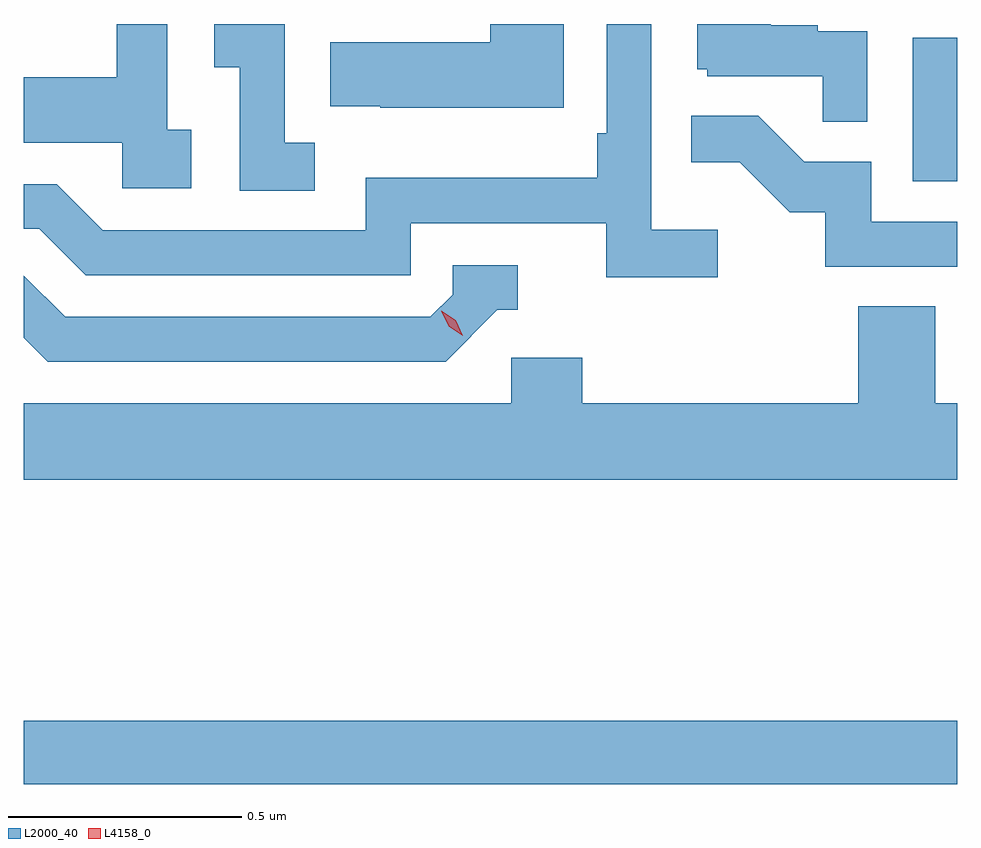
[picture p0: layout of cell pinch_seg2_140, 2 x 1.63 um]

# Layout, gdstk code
import gdstk
lib = gdstk.Library(unit=1e-6, precision=1e-09)
def R(c, l, rs):  # rectangles x0, y0, x1, y1
    for r in rs: c.add(gdstk.rectangle(r[:2], r[2:], *l))
def P(c, l, *ps):  # polygons
    for p in ps: c.add(gdstk.Polygon(p, *l))
L2000_40 = (2000, 40)
L4158_0 = (4158, 0)

pinch_seg2_140 = lib.new_cell('pinch_seg2_140')
R(pinch_seg2_140, L2000_40, [(1018.157,628.336,1020.157,628.472), (1020.062,629.628,1020.157,629.935)])
P(pinch_seg2_140, L2000_40, [(1019.644,629.524),(1019.502,629.524),(1019.502,629.965),(1019.406,629.965),(1019.406,629.731),(1019.386,629.731),(1019.386,629.635),(1018.89,629.635),(1018.89,629.523),(1018.326,629.523),(1018.227,629.622),(1018.157,629.622),(1018.157,629.526),(1018.19,629.526),(1018.289,629.427),(1018.986,629.427),(1018.986,629.538),(1019.405,629.538),(1019.405,629.422),(1019.644,629.422)],
  [(1019.314,629.965),(1019.156,629.965),(1019.156,629.926),(1018.813,629.926),(1018.813,629.789),(1018.921,629.789),(1018.921,629.786),(1019.314,629.786)],
  [(1019.964,629.949),(1019.858,629.949),(1019.858,629.962),(1019.758,629.962),(1019.758,629.965),(1019.6,629.965),(1019.6,629.868),(1019.622,629.868),(1019.622,629.853),(1019.869,629.853),(1019.869,629.755),(1019.964,629.755)],
  [(1018.78,629.711),(1018.716,629.711),(1018.716,629.965),(1018.565,629.965),(1018.565,629.872),(1018.62,629.872),(1018.62,629.608),(1018.78,629.608)],
  [(1018.516,629.738),(1018.464,629.738),(1018.464,629.965),(1018.356,629.965),(1018.356,629.851),(1018.157,629.851),(1018.157,629.711),(1018.368,629.711),(1018.368,629.613),(1018.516,629.613)],
  [(1020.157,629.541),(1019.973,629.541),(1019.973,629.67),(1019.829,629.67),(1019.731,629.768),(1019.587,629.768),(1019.587,629.669),(1019.691,629.669),(1019.798,629.562),(1019.875,629.562),(1019.875,629.445),(1020.157,629.445)],
  [(1019.172,629.352),(1019.215,629.352),(1019.215,629.448),(1019.076,629.448),(1019.076,629.385),(1019.028,629.337),(1018.245,629.337),(1018.157,629.425),(1018.157,629.292),(1018.208,629.241),(1019.061,629.241)],
  [(1020.157,629.152),(1020.11,629.152),(1020.11,629.36),(1019.945,629.36),(1019.945,629.152),(1019.354,629.152),(1019.354,629.25),(1019.202,629.25),(1019.202,629.152),(1018.157,629.152),(1018.157,628.988),(1020.157,628.988)])
P(pinch_seg2_140, L4158_0, [(1019.097,629.297),(1019.067,629.317),(1019.051,629.35),(1019.051,629.35),(1019.051,629.35),(1019.082,629.33),(1019.097,629.297),(1019.097,629.297)])

lib.write_gds('pinch_seg2_140.gds')
